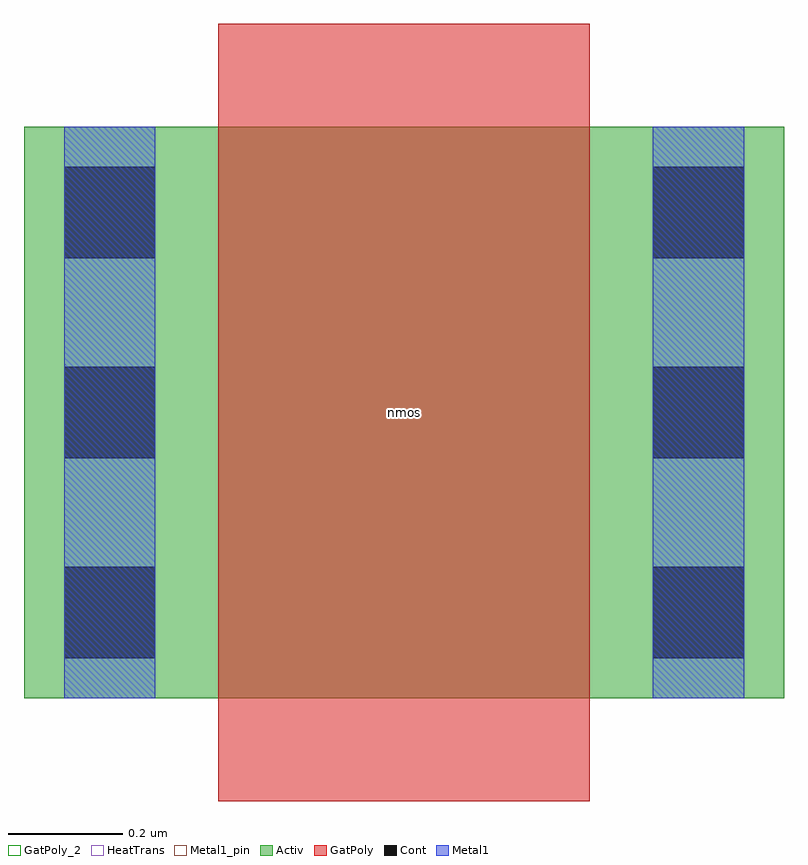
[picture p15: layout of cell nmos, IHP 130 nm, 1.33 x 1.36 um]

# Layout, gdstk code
import gdstk
lib = gdstk.Library(unit=1e-6, precision=1e-09)
def R(c, l, rs):  # rectangles x0, y0, x1, y1
    for r in rs: c.add(gdstk.rectangle(r[:2], r[2:], *l))
def A(c, l, x, y, w, h, nx, ny, dx, dy):  # array of equal rectangles
    R(c, l, [(x+i*dx, y+j*dy, x+i*dx+w, y+j*dy+h) for i in range(nx) for j in range(ny)])
Activ = (1, 0)
GatPoly = (5, 0)
GatPoly_2 = (5, 2)
Cont = (6, 0)
Metal1 = (8, 0)
Metal1_pin = (8, 2)
HeatTrans = (51, 0)

nmos = lib.new_cell('nmos')
R(nmos, Activ, [(0.16,0,0.46,0.3), (0.16,0,1.49,1), (1.19,0,1.49,0.3)])
R(nmos, GatPoly, [(0.5,-0.18,1.15,1.18)])
R(nmos, GatPoly_2, [(0.5,-0.18,1.15,1.18)])
A(nmos, Cont, 0.23, 0.07, 0.16, 0.16, 1, 3, 0, 0.35)
A(nmos, Cont, 1.26, 0.07, 0.16, 0.16, 1, 3, 0, 0.35)
R(nmos, Metal1, [(0.23,0,0.39,1), (1.26,0,1.42,1)])
R(nmos, Metal1_pin, [(0.23,0,0.39,1), (1.26,0,1.42,1)])
R(nmos, HeatTrans, [(0.5,-0.18,1.15,1.18)])
nmos.add(gdstk.Label('nmos', (0.825,0.5), layer=63, texttype=0))
nmos.add(gdstk.Label('nmos', (0.825,0.5), layer=51, texttype=0))

lib.write_gds('nmos.gds')
